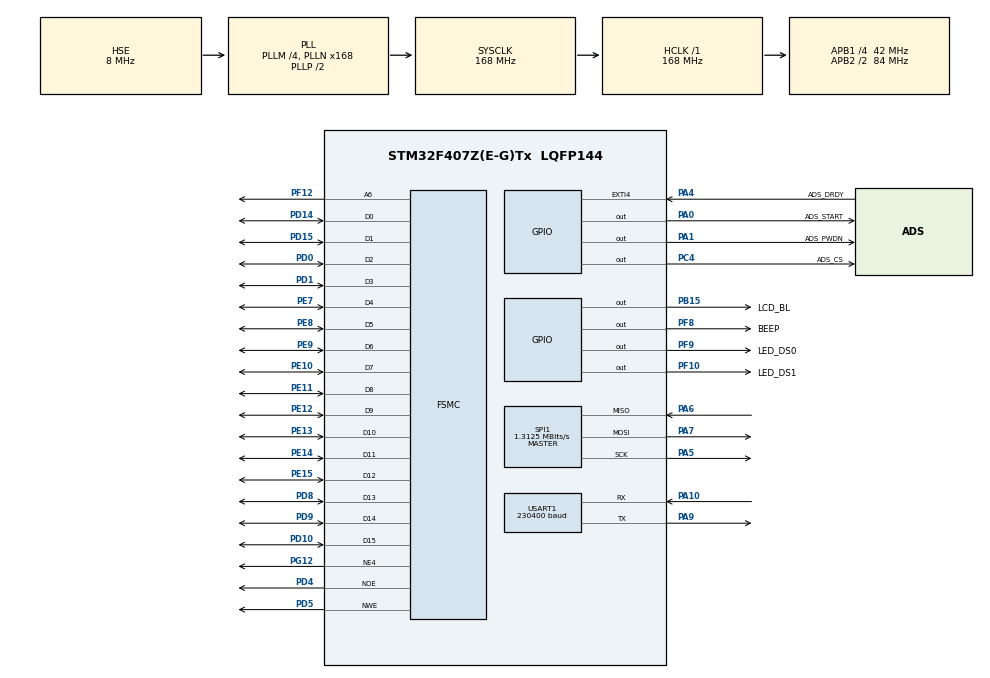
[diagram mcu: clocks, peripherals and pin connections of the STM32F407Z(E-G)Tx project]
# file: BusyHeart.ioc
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FREERTOS.BinarySemaphores01=adsAvaiable,Dynamic,NULL;drawValueAvailable,Dynamic,NULL;fftAvailable,Dynamic,NULL
FREERTOS.Tasks01=defaultTask,24,1024,StartDefaultTask,Default,NULL,Dynamic,NULL,NULL;drawTask,24,1024,DrawTask,Default,NULL,Dynamic,NULL,NULL;fftTask,24,1024,FFTTask,Default,NULL,Dynamic,NULL,NULL
Mcu.Family=STM32F4
Mcu.Name=STM32F407Z(E-G)Tx
Mcu.Package=LQFP144
NVIC.EXTI4_IRQn=true\:5\:0\:false\:false\:true\:true\:true\:true\:true
NVIC.PriorityGroup=NVIC_PRIORITYGROUP_4
NVIC.SPI1_IRQn=true\:5\:0\:false\:false\:true\:true\:true\:true\:true
NVIC.TIM6_DAC_IRQn=true\:15\:0\:false\:false\:true\:false\:false\:true\:true
NVIC.TimeBase=TIM6_DAC_IRQn
NVIC.TimeBaseIP=TIM6
PA0-WKUP.GPIO_Label=ADS_START
PA0-WKUP.PinState=GPIO_PIN_SET
PA0-WKUP.Signal=GPIO_Output
PA1.GPIO_Label=ADS_PWDN
PA1.PinState=GPIO_PIN_SET
PA1.Signal=GPIO_Output
PA10.Mode=Asynchronous
PA10.Signal=USART1_RX
PA13.Mode=Serial_Wire
PA13.Signal=SYS_JTMS-SWDIO
PA14.Mode=Serial_Wire
PA14.Signal=SYS_JTCK-SWCLK
PA4.GPIO_Label=ADS_DRDY
PA4.GPIO_ModeDefaultEXTI=GPIO_MODE_IT_FALLING
PA4.GPIO_PuPd=GPIO_PULLDOWN
PA4.Signal=GPXTI4
PA5.Mode=Full_Duplex_Master
PA5.Signal=SPI1_SCK
PA6.Mode=Full_Duplex_Master
PA6.Signal=SPI1_MISO
PA7.Mode=Full_Duplex_Master
PA7.Signal=SPI1_MOSI
PA9.Mode=Asynchronous
PA9.Signal=USART1_TX
PB15.GPIO_Label=LCD_BL
PB15.Signal=GPIO_Output
PC4.GPIO_Label=ADS_CS
PC4.GPIO_Speed=GPIO_SPEED_FREQ_VERY_HIGH
PC4.PinState=GPIO_PIN_SET
PC4.Signal=GPIO_Output
PD0.Signal=FSMC_D2_DA2
PD1.Signal=FSMC_D3_DA3
PD10.Signal=FSMC_D15_DA15
PD14.Signal=FSMC_D0_DA0
PD15.Signal=FSMC_D1_DA1
PD4.Signal=FSMC_NOE
PD5.Signal=FSMC_NWE
PD8.Signal=FSMC_D13_DA13
PD9.Signal=FSMC_D14_DA14
PE10.Signal=FSMC_D7_DA7
PE11.Signal=FSMC_D8_DA8
PE12.Signal=FSMC_D9_DA9
PE13.Signal=FSMC_D10_DA10
PE14.Signal=FSMC_D11_DA11
PE15.Signal=FSMC_D12_DA12
PE7.Signal=FSMC_D4_DA4
PE8.Signal=FSMC_D5_DA5
PE9.Signal=FSMC_D6_DA6
PF10.GPIO_Label=LED_DS1
PF10.Signal=GPIO_Output
PF12.Signal=FSMC_A6
PF8.GPIO_Label=BEEP
PF8.PinState=GPIO_PIN_RESET
PF8.Signal=GPIO_Output
PF9.GPIO_Label=LED_DS0
PF9.Signal=GPIO_Output
PG12.Mode=NorPsramChipSelect4_4
PG12.Signal=FSMC_NE4
PH0-OSC_IN.Mode=HSE-External-Oscillator
PH0-OSC_IN.Signal=RCC_OSC_IN
PH1-OSC_OUT.Mode=HSE-External-Oscillator
PH1-OSC_OUT.Signal=RCC_OSC_OUT
ProjectManager.HeapSize=0x200
ProjectManager.StackSize=0x400
ProjectManager.TargetToolchain=STM32CubeIDE
RCC.48MHZClocksFreq_Value=84000000
RCC.AHBFreq_Value=168000000
RCC.APB1CLKDivider=RCC_HCLK_DIV4
RCC.APB1Freq_Value=42000000
RCC.APB1TimFreq_Value=84000000
RCC.APB2CLKDivider=RCC_HCLK_DIV2
RCC.APB2Freq_Value=84000000
RCC.APB2TimFreq_Value=168000000
RCC.CortexFreq_Value=168000000
RCC.HCLKFreq_Value=168000000
RCC.HSE_VALUE=8000000
RCC.HSI_VALUE=16000000
RCC.LSE_VALUE=32768
RCC.PLLM=4
RCC.PLLN=168
RCC.PLLSourceVirtual=RCC_PLLSOURCE_HSE
RCC.SYSCLKFreq_VALUE=168000000
RCC.SYSCLKSource=RCC_SYSCLKSOURCE_PLLCLK
RCC.VCOOutputFreq_Value=336000000
SH.FSMC_A6.0=FSMC_A6,A6_4
SH.FSMC_D0_DA0.0=FSMC_D0,16b-d4
SH.FSMC_D10_DA10.0=FSMC_D10,16b-d4
SH.FSMC_D11_DA11.0=FSMC_D11,16b-d4
SH.FSMC_D12_DA12.0=FSMC_D12,16b-d4
SH.FSMC_D13_DA13.0=FSMC_D13,16b-d4
SH.FSMC_D14_DA14.0=FSMC_D14,16b-d4
SH.FSMC_D15_DA15.0=FSMC_D15,16b-d4
SH.FSMC_D1_DA1.0=FSMC_D1,16b-d4
SH.FSMC_D2_DA2.0=FSMC_D2,16b-d4
SH.FSMC_D3_DA3.0=FSMC_D3,16b-d4
SH.FSMC_D4_DA4.0=FSMC_D4,16b-d4
SH.FSMC_D5_DA5.0=FSMC_D5,16b-d4
SH.FSMC_D6_DA6.0=FSMC_D6,16b-d4
SH.FSMC_D7_DA7.0=FSMC_D7,16b-d4
SH.FSMC_D8_DA8.0=FSMC_D8,16b-d4
SH.FSMC_D9_DA9.0=FSMC_D9,16b-d4
SH.FSMC_NOE.0=FSMC_NOE,Lcd4
SH.FSMC_NWE.0=FSMC_NWE,Lcd4
SPI1.BaudRatePrescaler=SPI_BAUDRATEPRESCALER_64
SPI1.CLKPhase=SPI_PHASE_2EDGE
SPI1.CLKPolarity=SPI_POLARITY_LOW
SPI1.CalculateBaudRate=1.3125 MBits/s
SPI1.Direction=SPI_DIRECTION_2LINES
SPI1.FirstBit=SPI_FIRSTBIT_MSB
SPI1.Mode=SPI_MODE_MASTER
SPI1.VirtualType=VM_MASTER
STMicroelectronics.X-CUBE-ALGOBUILD.1.3.0.LibraryCcDSPOoLibraryJjDSPOoLibrary=true
USART1.BaudRate=230400
USART1.VirtualMode=VM_ASYNC
VP_FREERTOS_VS_CMSIS_V2.Mode=CMSIS_V2
VP_STMicroelectronics.X-CUBE-ALGOBUILD_VS_DSPOoLibraryJjLibrary_1.3.0_1.3.0.Mode=DSPOoLibraryJjLibrary
VP_SYS_VS_tim6.Mode=TIM6
board=custom

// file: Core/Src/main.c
/* USER CODE BEGIN Header */
/**
  ******************************************************************************
  * @file           : main.c
  * @brief          : Main program body
  ******************************************************************************
  * @attention
  *
  * Copyright (c) 2024 STMicroelectronics.
  * All rights reserved.
  *
  * This software is licensed under terms that can be found in the LICENSE file
  * in the root directory of this software component.
  * If no LICENSE file comes with this software, it is provided AS-IS.
  *
  ******************************************************************************
  */
/* USER CODE END Header */
#include "main.h"
#include "cmsis_os.h"
#include "spi.h"
#include "usart.h"
#include "gpio.h"
#include "fsmc.h"

/* USER CODE BEGIN Includes */

#include "math.h"
#include "string.h"
#include "stdio.h"
#include "led/led.h"
#include "atk_md0350/atk_md0350.h"
#include "ads1292/ads1292.h"
#include "iir_filter/iir_filter.h"

/* USER CODE END Includes */

void SystemClock_Config(void);
void MX_FREERTOS_Init(void);

int main(void)
{

  /* MCU Configuration--------------------------------------------------------*/

  /* Reset of all peripherals, Initializes the Flash interface and the Systick. */
  HAL_Init();

  /* Configure the system clock */
  SystemClock_Config();

  /* Initialize all configured peripherals */
  MX_GPIO_Init();
  MX_FSMC_Init();
  MX_USART1_UART_Init();
  MX_SPI1_Init();
  /* USER CODE BEGIN 2 */

    HAL_Delay(100);

    atk_md0350_init();
    atk_md0350_clear(ATK_MD0350_WHITE);

    char msg_author[64];
    snprintf(msg_author, sizeof(msg_author), "author:BusyBox (busybox177634@gmail.com)");
    atk_md0350_fill(180, 160, 180 + 250, 160 + 16, ATK_MD0350_WHITE);
    atk_md0350_show_string(180, 160, 250, 16, msg_author, ATK_MD0350_LCD_FONT_12, ATK_MD0350_BLACK);

    ads1292_init();

  /* USER CODE END 2 */

  /* Init scheduler */
  osKernelInitialize();  /* Call init function for freertos objects (in freertos.c) */
  MX_FREERTOS_Init();

  /* Start scheduler */
  osKernelStart();

  /* We should never get here as control is now taken by the scheduler */
  /* Infinite loop */
  while (1)
  {

  }
}

void SystemClock_Config(void)
{
  RCC_OscInitTypeDef RCC_OscInitStruct = {0};
  RCC_ClkInitTypeDef RCC_ClkInitStruct = {0};

  /** Configure the main internal regulator output voltage
  */
  __HAL_RCC_PWR_CLK_ENABLE();
  __HAL_PWR_VOLTAGESCALING_CONFIG(PWR_REGULATOR_VOLTAGE_SCALE1);

  /** Initializes the RCC Oscillators according to the specified parameters
  * in the RCC_OscInitTypeDef structure.
  */
  RCC_OscInitStruct.OscillatorType = RCC_OSCILLATORTYPE_HSE;
  RCC_OscInitStruct.HSEState = RCC_HSE_ON;
  RCC_OscInitStruct.PLL.PLLState = RCC_PLL_ON;
  RCC_OscInitStruct.PLL.PLLSource = RCC_PLLSOURCE_HSE;
  RCC_OscInitStruct.PLL.PLLM = 4;
  RCC_OscInitStruct.PLL.PLLN = 168;
  RCC_OscInitStruct.PLL.PLLP = RCC_PLLP_DIV2;
  RCC_OscInitStruct.PLL.PLLQ = 4;
  if (HAL_RCC_OscConfig(&RCC_OscInitStruct) != HAL_OK)
  {
    Error_Handler();
  }

  /** Initializes the CPU, AHB and APB buses clocks
  */
  RCC_ClkInitStruct.ClockType = RCC_CLOCKTYPE_HCLK|RCC_CLOCKTYPE_SYSCLK
                              |RCC_CLOCKTYPE_PCLK1|RCC_CLOCKTYPE_PCLK2;
  RCC_ClkInitStruct.SYSCLKSource = RCC_SYSCLKSOURCE_PLLCLK;
  RCC_ClkInitStruct.AHBCLKDivider = RCC_SYSCLK_DIV1;
  RCC_ClkInitStruct.APB1CLKDivider = RCC_HCLK_DIV4;
  RCC_ClkInitStruct.APB2CLKDivider = RCC_HCLK_DIV2;

  if (HAL_RCC_ClockConfig(&RCC_ClkInitStruct, FLASH_LATENCY_5) != HAL_OK)
  {
    Error_Handler();
  }
}

void HAL_TIM_PeriodElapsedCallback(TIM_HandleTypeDef *htim)
{
  if (htim->Instance == TIM6) {
    HAL_IncTick();
  }
}

void Error_Handler(void)
{
  __disable_irq();
  while (1)
  {
  }
}

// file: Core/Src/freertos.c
/* USER CODE BEGIN Header */
/**
 * @file freertos.c
 * @author BusyBox (busybox177634@gmail.com)
 * @brief
 * @version 0.1
 * @date 2024-12-26
 *
 * @copyright Copyright (c) 2024
 *
 */
/* USER CODE END Header */

#include "FreeRTOS.h"
#include "task.h"
#include "main.h"
#include "cmsis_os.h"

/* USER CODE BEGIN Includes */

#include "usart.h"
#include "math.h"
#include "string.h"
#include "stdio.h"
#include "arm_math.h"
#include "led/led.h"
#include "atk_md0350/atk_md0350.h"
#include "ads1292/ads1292.h"
#include "iir_filter/iir_filter.h"

/* USER CODE END Includes */

/* Definitions for defaultTask */
osThreadId_t defaultTaskHandle;
const osThreadAttr_t defaultTask_attributes = {
  .name = "defaultTask",
  .stack_size = 1024 * 4,
  .priority = (osPriority_t) osPriorityNormal,
};
/* Definitions for drawTask */
osThreadId_t drawTaskHandle;
const osThreadAttr_t drawTask_attributes = {
  .name = "drawTask",
  .stack_size = 1024 * 4,
  .priority = (osPriority_t) osPriorityNormal,
};
/* Definitions for fftTask */
osThreadId_t fftTaskHandle;
const osThreadAttr_t fftTask_attributes = {
  .name = "fftTask",
  .stack_size = 1024 * 4,
  .priority = (osPriority_t) osPriorityNormal,
};
/* Definitions for beepTask */
osThreadId_t beepTaskHandle;
const osThreadAttr_t beepTask_attributes = {
  .name = "beepTask",
  .stack_size = 128 * 4,
  .priority = (osPriority_t) osPriorityNormal,
};
/* Definitions for keyScanTask */
osThreadId_t keyScanTaskHandle;
const osThreadAttr_t keyScanTask_attributes = {
  .name = "keyScanTask",
  .stack_size = 1024 * 4,
  .priority = (osPriority_t) osPriorityNormal,
};
/* Definitions for adsAvaiable */
osSemaphoreId_t adsAvaiableHandle;
const osSemaphoreAttr_t adsAvaiable_attributes = {
  .name = "adsAvaiable"
};
/* Definitions for drawValueAvailable */
osSemaphoreId_t drawValueAvailableHandle;
const osSemaphoreAttr_t drawValueAvailable_attributes = {
  .name = "drawValueAvailable"
};
/* Definitions for fftAvailable */
osSemaphoreId_t fftAvailableHandle;
const osSemaphoreAttr_t fftAvailable_attributes = {
  .name = "fftAvailable"
};

/* USER CODE BEGIN FunctionPrototypes */

volatile double draw_value = 0;
volatile int16_t* current_fft = 0;
volatile int enable_beep = 0;
volatile int using_test_signal = 0;
volatile int show_fft = 1;

static int16_t wave_buff0[4096];
static int16_t wave_buff1[4096];
static int16_t last_fft[4096];
static int16_t wave_fft[4096];
static int current_index = 0;
static int current_wave_append = 0;

static arm_rfft_instance_q15 fft_instance;

void HAL_GPIO_EXTI_Callback(uint16_t pin)
{
    if (pin == GPIO_PIN_4) {
        osSemaphoreRelease(adsAvaiableHandle);

        static int a = 0;
        a++;
        if (a % 10 == 0)
            led_ds1_toggle();
    }
}

void lcd_draw_heartbeat(double value)
{
    value = - value; /* 由于LCD绘制方向，需要翻转一下图像 */

    static const int x1 = 5, y1 = 10, x2 = 432, y2 = 150; /* 绘制范围 */
    atk_md0350_draw_line(x1, y1, x2, y1, ATK_MD0350_BLACK);
    atk_md0350_draw_line(x2, y1, x2, y2, ATK_MD0350_BLACK);
    atk_md0350_draw_line(x1, y1, x1, y2, ATK_MD0350_BLACK);
    atk_md0350_draw_line(x1, y2, x2, y2, ATK_MD0350_BLACK);

    static int x = x1;
    static const double scale = 0.4;
    static int last_draw_x = x1, last_draw_y = (y1 + y2) / 2;
    static double min_value = 1.0, max_value = -1.0;
    static double c_min_value = 1.0, c_max_value = -1.0;

    if (x > (x2 / scale)) {
        x = x1;
        atk_md0350_fill(last_draw_x, y1, last_draw_x + 1, y2, ATK_MD0350_WHITE);
        min_value = c_min_value, max_value = c_max_value;
        c_min_value = 1.0; c_max_value = -1.0;

        /* 绘制纵坐标 */
        char msg_max_value[64];
        char msg_min_value[64];
        snprintf(msg_max_value, sizeof(msg_max_value), " %.2lfmV", max_value);
        snprintf(msg_min_value, sizeof(msg_min_value), "%.2lfmV", min_value);
        atk_md0350_fill(435, 10, 432 + 50, 10 + 12, ATK_MD0350_WHITE);
        atk_md0350_show_string(435, 10, 50, 12, msg_max_value, ATK_MD0350_LCD_FONT_12, ATK_MD0350_BLACK);
        atk_md0350_fill(435, 138, 432 + 50, 138 + 12, ATK_MD0350_WHITE);
        atk_md0350_show_string(435, 138, 50, 12, msg_min_value, ATK_MD0350_LCD_FONT_12, ATK_MD0350_BLACK);
    }

    /* 寻找幅值范围 */
    if (value > c_max_value) c_max_value = value;
    if (value < c_min_value) c_min_value = value;

    int draw_x = scale * x++;
    int draw_y = y1 + 3 + (value - min_value) * (y2 - y1) / (max_value - min_value) * 0.95;

    /* 限制绘制幅度 */
    if (draw_x > (x2 / scale)) draw_x = x2;
    if (draw_x < x1) draw_x = x1;
    if (draw_y > y2) draw_y = y2;
    if (draw_y < y1) draw_y = y1;

    /* 绘制之前清除上一次的图形 */
    atk_md0350_fill(last_draw_x + 1, y1, draw_x + 1, y2, ATK_MD0350_WHITE);
    if (draw_x > last_draw_x || (draw_x == last_draw_x && draw_x != x1)) atk_md0350_draw_line(last_draw_x, last_draw_y, draw_x, draw_y, ATK_MD0350_RED);

    last_draw_x = draw_x;
    last_draw_y = draw_y;

    /* 计算心率 */
    static const int window_size = 20;
    static int window_index = 0;
    static double window[32] = {0.0};
    static int delay_cnt = 0;
    static int time_index = 0;
    static int last_time_index = 0;
    time_index++;

    window[window_index++] = value;
    if (window_index >= window_size) window_index = 0;

    double window_min_value = 1.0, window_max_value = -0.1;
    for (int i = 0; i < window_size; ++i) {
        if (window[i] < window_min_value) window_min_value = window[i];
        if (window[i] > window_max_value) window_max_value = window[i];
    }

    if (window_max_value - window_min_value > (max_value - min_value) * 0.5 && delay_cnt == 0) { /* 0.5为心跳阈值 */
        delay_cnt = 100;

        int heart_rate = 1000.0 / ((time_index - last_time_index) * 2) * 60;

        last_time_index = time_index;
        enable_beep = 1;
        char msg_heart_rate[64];
        snprintf(msg_heart_rate, sizeof(msg_heart_rate), "heart_rate:%d", heart_rate);
        atk_md0350_fill(5, 160, 5 + 150, 160 + 16, ATK_MD0350_WHITE);
        atk_md0350_show_string(5, 160, 150, 16, msg_heart_rate, ATK_MD0350_LCD_FONT_16, ATK_MD0350_BLACK);
    }
    delay_cnt -= 1;
    if (delay_cnt < 0) delay_cnt = 0;

    if (max_value - min_value < 0.05) { /* 没有心跳了 */
        enable_beep = 1;
    }
}

static void draw_fft(int16_t* wave, int start, int end)
{
    static const int x1 = 5, y1 = 180, x2 = 432, y2 = 310; /* 绘制范围 */
    atk_md0350_fill(x1, y1, x2, y2, ATK_MD0350_WHITE);
    atk_md0350_draw_line(x1, y1, x2, y1, ATK_MD0350_BLACK);
    atk_md0350_draw_line(x2, y1, x2, y2, ATK_MD0350_BLACK);
    atk_md0350_draw_line(x1, y1, x1, y2, ATK_MD0350_BLACK);
    atk_md0350_draw_line(x1, y2, x2, y2, ATK_MD0350_BLACK);

    int16_t min_value = 0x7fff, max_value = 0;
    /* 寻找幅值范围 */
    for (int index = start; index < end; ++index) {
        if (wave[index] > max_value) max_value = wave[index];
        if (wave[index] < min_value) min_value = wave[index];
    }

    int last_draw_x = -1, last_draw_y = 0;
    for (int index = start; index < end; ++index) {

        int draw_x = x1 + (index - start) * (x2 - x1) / (end - start);
        int draw_y = y2 - (wave[index] - min_value) * (y2 - y1) / (max_value - min_value) * 0.95;

        if (draw_x > x2) draw_x = x2;
        if (draw_x < x1) draw_x = x1;
        if (draw_y > y2) draw_y = y2;
        if (draw_y < y1) draw_y = y1;

        if (last_draw_x == -1) {
            last_draw_x = draw_x;
            last_draw_y = draw_y;
            continue ;
        }
        atk_md0350_draw_line(last_draw_x, last_draw_y, draw_x, draw_y, ATK_MD0350_RED);
        last_draw_x = draw_x;
        last_draw_y = draw_y;
    }

    char msg_fft[64];
    snprintf(msg_fft, sizeof(msg_fft), "FFT %d", show_fft);
    atk_md0350_fill(435, 298, 432 + 50, 298 + 12, ATK_MD0350_WHITE);
    atk_md0350_show_string(435, 298, 80, 40, msg_fft, ATK_MD0350_LCD_FONT_12, ATK_MD0350_BLACK);
}

/* USER CODE END FunctionPrototypes */

void StartDefaultTask(void *argument);
void DrawTask(void *argument);
void FFTTask(void *argument);
void BeepTask(void *argument);
void KeyScanTask(void *argument);

void MX_FREERTOS_Init(void); /* (MISRA C 2004 rule 8.1) */

void MX_FREERTOS_Init(void) {

  /* Create the semaphores(s) */
  /* creation of adsAvaiable */
  adsAvaiableHandle = osSemaphoreNew(1, 1, &adsAvaiable_attributes);

  /* creation of drawValueAvailable */
  drawValueAvailableHandle = osSemaphoreNew(1, 1, &drawValueAvailable_attributes);

  /* creation of fftAvailable */
  fftAvailableHandle = osSemaphoreNew(1, 1, &fftAvailable_attributes);

  /* Create the thread(s) */
  /* creation of defaultTask */
  defaultTaskHandle = osThreadNew(StartDefaultTask, NULL, &defaultTask_attributes);

  /* creation of drawTask */
  drawTaskHandle = osThreadNew(DrawTask, NULL, &drawTask_attributes);

  /* creation of fftTask */
  fftTaskHandle = osThreadNew(FFTTask, NULL, &fftTask_attributes);

  /* creation of beepTask */
  beepTaskHandle = osThreadNew(BeepTask, NULL, &beepTask_attributes);

  /* creation of keyScanTask */
  keyScanTaskHandle = osThreadNew(KeyScanTask, NULL, &keyScanTask_attributes);

}

void StartDefaultTask(void *argument)
{
  /* USER CODE BEGIN StartDefaultTask */
  /* Infinite loop */

    struct IIR_Handle notch_50hz;
    struct IIR_Handle notch_100hz;
    struct IIR_Handle low_pass;
    struct IIR_Handle high_pass;

    iir_filter_init(&notch_50hz, 1.0, -1.52226142, 0.88161859, 0.9408093, -1.52226142, 0.9408093);
    iir_filter_init(&notch_100hz, 1.0, -0.54871515, 0.77567951, 0.88783976, -0.54871515, 0.88783976);
    iir_filter_init(&low_pass, 1.0, -1.64745998, 0.70089678, 0.0133592, 0.0267184, 0.0133592);
    iir_filter_init(&high_pass, 1.0, -1.91119707, 0.91497583, 0.95654323, -1.91308645, 0.95654323);

    while (1) {
        if (osSemaphoreAcquire(adsAvaiableHandle, pdMS_TO_TICKS(portMAX_DELAY)) == osOK) {
            double value = ads1292_read_channel2();

            if (!using_test_signal) {
                value = iir_filter_process(&notch_50hz, value);
                value = iir_filter_process(&notch_100hz, value);
                value = iir_filter_process(&low_pass, value);
                value = iir_filter_process(&high_pass, value);

                if (fabs(value) < 200) value *= 0.3;

                value = value * 7;
            }

            char msg[64];
            snprintf(msg, sizeof(msg), "id:%.8lf\r\n", value);
            HAL_UART_Transmit(&huart1, msg, strlen(msg), 100);

            draw_value = value;
            osSemaphoreRelease(drawValueAvailableHandle);

            if (current_wave_append) {
                wave_buff1[current_index++] = value * 10000;
                if (current_index >= 4096) {
                    current_index = 0;
                    current_wave_append = 0;
                    current_fft = wave_buff1;

                    osSemaphoreRelease(fftAvailableHandle);
                }
            } else {
                wave_buff0[current_index++] = value * 10000;
                if (current_index >= 4096) {
                    current_index = 0;
                    current_wave_append = 1;
                    current_fft = wave_buff0;

                    osSemaphoreRelease(fftAvailableHandle);
                }
            }
        }
    }

  /* USER CODE END StartDefaultTask */
}

void DrawTask(void *argument)
{
  /* USER CODE BEGIN DrawTask */
  /* Infinite loop */
  for(;;)
  {
      if (osSemaphoreAcquire(drawValueAvailableHandle, pdMS_TO_TICKS(portMAX_DELAY)) == osOK) {
          portENTER_CRITICAL();
          lcd_draw_heartbeat(draw_value);
          portEXIT_CRITICAL();
      }
  }
  /* USER CODE END DrawTask */
}

void FFTTask(void *argument)
{
  /* USER CODE BEGIN FFTTask */
  /* Infinite loop */
  for(;;)
  {
      if (osSemaphoreAcquire(fftAvailableHandle, pdMS_TO_TICKS(portMAX_DELAY)) == osOK) {
          if (show_fft) {
              uint16_t fftSize = 4096;      //定义rfft的长度
              uint8_t ifftFlag = 0;         //表示fft变换为正变换,1则为逆变换
              arm_rfft_init_q15(&fft_instance, fftSize, ifftFlag, 1);
              arm_rfft_q15(&fft_instance, current_fft, wave_fft);
              for (int i = 0; i < 4096; ++i) wave_fft[i] = fabs(wave_fft[i]);

              portENTER_CRITICAL();
              draw_fft(wave_fft, 0, 1024);
              portEXIT_CRITICAL();
          }
      }
    osDelay(1);
  }
  /* USER CODE END FFTTask */
}

void BeepTask(void *argument)
{
  /* USER CODE BEGIN BeepTask */
  /* Infinite loop */
  for(;;)
  {
      if (enable_beep) {
          enable_beep = 0;
          led_ds0_on();
          HAL_GPIO_WritePin(BEEP_GPIO_Port, BEEP_Pin, GPIO_PIN_SET);
          osDelay(100);
          led_ds0_off();
          HAL_GPIO_WritePin(BEEP_GPIO_Port, BEEP_Pin, GPIO_PIN_RESET);
      }
    osDelay(1);
  }
  /* USER CODE END BeepTask */
}

void KeyScanTask(void *argument)
{
  /* USER CODE BEGIN KeyScanTask */

  int key0 = 0, key0_press = 0;
  int key1 = 1, key1_press = 0;
  int key2 = 0, key2_press = 0;

  /* Infinite loop */
  for(;;)
  {
      if (HAL_GPIO_ReadPin(KEY0_GPIO_Port, KEY0_Pin) == GPIO_PIN_RESET) {
          osDelay(50);
          if (HAL_GPIO_ReadPin(KEY0_GPIO_Port, KEY0_Pin) == GPIO_PIN_RESET) {
              if (!key0_press) {
                  key0 = !key0;

                  if (key0) {
                      ads1292_use_test_signal();
                      using_test_signal = 1;
                  } else {
                      ads1292_use_external_signal();
                      using_test_signal = 0;
                  }
              }
              key0_press = 1;
          }
      } else {
          key0_press = 0;
      }

      if (HAL_GPIO_ReadPin(KEY1_GPIO_Port, KEY1_Pin) == GPIO_PIN_RESET) {
          osDelay(50);
          if (HAL_GPIO_ReadPin(KEY1_GPIO_Port, KEY1_Pin) == GPIO_PIN_RESET) {
              if (!key1_press) {
                  key1 = !key1;

                  if (key1) {
                      show_fft = 1;
                      portENTER_CRITICAL();
                      draw_fft(0, 0, 0);
                      portEXIT_CRITICAL();
                  } else {
                      show_fft = 0;
                      portENTER_CRITICAL();
                      draw_fft(0, 0, 0);
                      portEXIT_CRITICAL();
                  }
              }

              key1_press = 1;
          }
      } else {
          key1_press = 0;
      }

      if (HAL_GPIO_ReadPin(KEY2_GPIO_Port, KEY2_Pin) == GPIO_PIN_RESET) {
          osDelay(50);
          if (HAL_GPIO_ReadPin(KEY2_GPIO_Port, KEY2_Pin) == GPIO_PIN_RESET) {
              if (!key2_press) {
                  key2 = !key2;

              }

              key2_press = 1;
          }
      } else {
          key2_press = 0;
      }

    osDelay(1);
  }
  /* USER CODE END KeyScanTask */
}
